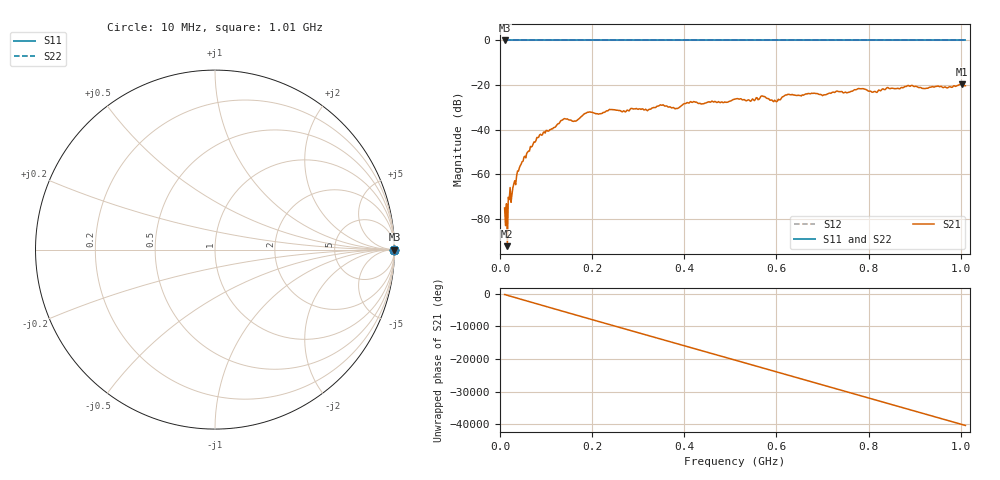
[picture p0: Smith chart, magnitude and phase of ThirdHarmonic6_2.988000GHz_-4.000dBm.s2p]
! 8/17/2025 8:30:23 AM
! C:\ANRITSUVNA\TEMP\TEMP.S2P
! CHANNEL.1
! TR.MEASUREMENT
! RAW.DATA
! RF.CORRECTION.OFF
! AVERAGING.OFF
! IF.BANDWIDTH: 5KHZ
! SWEEPTYPE:  FREQ.SWEEP(Linear)
! Reference Plane Port Info
! PORT:  PORT1  PORT2
! DISTANCE:  0  m  0  m
! TIME:  0  s  0  s
! PHASE.OFFSET:  0  deg.  0  deg.
! LOSS:  0  dB  0  dB
! REF.LOSS:  0  dB  0  dB
! REF.FREQ:  0  Hz  0  Hz
! Power Info
! POWER:  -20  dBm  -20  dBm
! EFF.POWER:  -20  dBm  -20  dBm
! SOURCE.ATTEN:  0  dB  0  dB
! TEST.ATTEN:  0  dB  0  dB
# GHZ S RI R 50.0
! FREQ.GHZ  S11RE  S11IM  S21RE  S21IM  S12RE  S12IM  S22RE  S22IM
!; PortSelection: Port_12
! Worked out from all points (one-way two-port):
!   501 points, 10 MHz to 1.01 GHz, reference 50 ohm
!   highest |S21| = -19.66 dB at 1.002 GHz (marker M1); lowest = -92.1 dB at 16 MHz (marker M2)
!   lowest |S11| = 0.0 dB at 10 MHz (marker M3)
!   |S11| at or under -10 dB: nowhere
!   |S22| runs from 0.0 to 0.0 dB; largest |S21 - S12| = 1.1
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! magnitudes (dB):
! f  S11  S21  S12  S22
! 10 MHz  0.0  -75.0  0.0  0.0
! 16 MHz  0.0  -92.1  0.0  0.0
! 18 MHz  0.0  -70.2  0.0  0.0
! 42 MHz  0.0  -57.1  0.0  0.0
! 84 MHz  0.0  -43.3  0.0  0.0
! 136 MHz  0.0  -35.5  0.0  0.0
! 162 MHz  0.0  -36.1  0.0  0.0
! 178 MHz  0.0  -33.8  0.0  0.0
! 192 MHz  0.0  -32.1  0.0  0.0
! 322 MHz  0.0  -31.0  0.0  0.0
! 344 MHz  0.0  -29.4  0.0  0.0
! 384 MHz  0.0  -30.5  0.0  0.0
! 416 MHz  0.0  -27.7  0.0  0.0
! 510 MHz  0.0  -26.2  0.0  0.0
! 548 MHz  0.0  -26.2  0.0  0.0
! 570 MHz  0.0  -24.9  0.0  0.0
! 598 MHz  0.0  -27.1  0.0  0.0
! 624 MHz  0.0  -24.2  0.0  0.0
! 678 MHz  0.0  -23.7  0.0  0.0
! 844 MHz  0.0  -21.4  0.0  0.0
! 1.002 GHz  0.0  -19.7  0.0  0.0
! 1.01 GHz  0.0  -20.3  0.0  0.0
